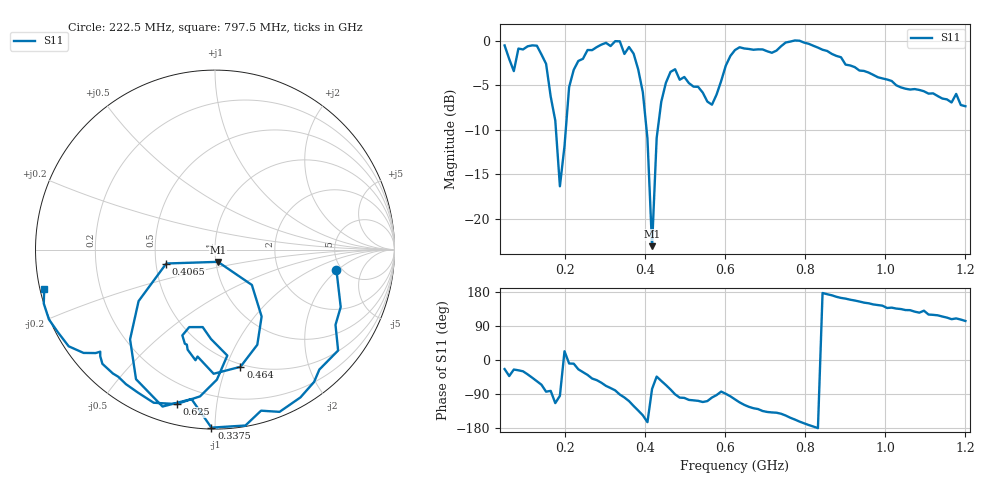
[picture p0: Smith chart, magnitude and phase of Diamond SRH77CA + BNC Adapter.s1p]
# HZ S RI R 50
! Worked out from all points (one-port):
!   101 points, 50 MHz to 1.2 GHz, reference 50 ohm
!   lowest |S11| = -23.1 dB at 418 MHz (marker M1), VSWR 1.15, Z = 51.2 - j7.02 ohm
!   |S11| at or under -10 dB: 178.1 MHz to 202.7 MHz (24.58 MHz wide, 12.9 % of centre); 404.3 MHz to 432.1 MHz (27.78 MHz wide, 6.64 % of centre)
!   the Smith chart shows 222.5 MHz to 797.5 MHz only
!   S11 on the Smith chart (normalised r, x): 222.5 MHz: 4.48, -1.96; 337.5 MHz: 0.01, -0.98; 406.5 MHz: 0.57, -0.10; 464 MHz: 0.48, -1.12; 625 MHz: 0.10, -0.78; 797.5 MHz: 0.01, -0.11
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5e7  0.8598 -0.382
6.15e7  0.5834 -0.5314
7.3e7  0.611 -0.2869
8.45e7  0.8041 -0.4129
1.075e8  0.7342 -0.5718
1.305e8  0.5247 -0.7774
1.535e8  0.0829 -0.7376
1.765e8  -0.1435 -0.3255
1.88e8  -0.0118 -0.1518
1.995e8  0.2357 0.1004
2.225e8  0.6767 -0.1157
2.8e8  0.5519 -0.7375
3.375e8  -0.0201 -0.992
3.72e8  -0.44 -0.722
4.065e8  -0.2714 -0.0775
4.18e8  0.0166 -0.0682
4.295e8  0.2054 -0.1969
4.64e8  0.1418 -0.653
4.87e8  -0.0972 -0.5959
5.675e8  -0.0686 -0.4317
5.905e8  0.0687 -0.5903
6.25e8  -0.2137 -0.8606
6.595e8  -0.4963 -0.7495
7.745e8  -0.9253 -0.3887
7.975e8  -0.9515 -0.2175
9.125e8  -0.6787 0.2589
1.062e9  -0.3525 0.3984
1.2e9  -0.0966 0.4176
